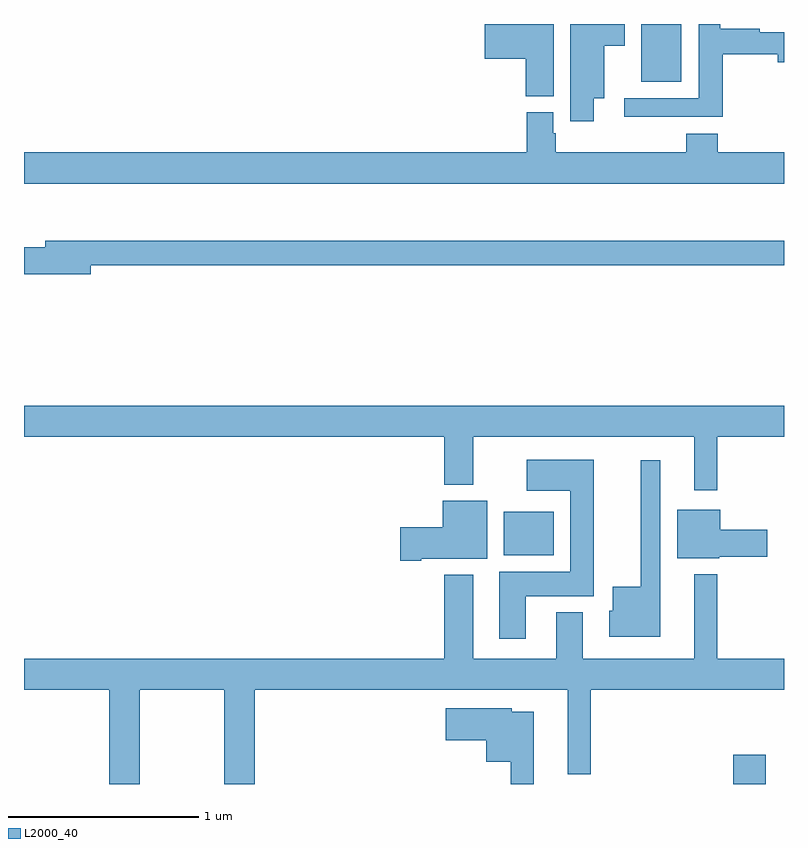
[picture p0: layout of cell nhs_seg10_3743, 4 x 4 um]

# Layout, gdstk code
import gdstk
lib = gdstk.Library(unit=1e-6, precision=1e-09)
def R(c, l, rs):  # rectangles x0, y0, x1, y1
    for r in rs: c.add(gdstk.rectangle(r[:2], r[2:], *l))
def P(c, l, *ps):  # polygons
    for p in ps: c.add(gdstk.Polygon(p, *l))
L2000_40 = (2000, 40)

nhs_seg10_3743 = lib.new_cell('nhs_seg10_3743')
R(nhs_seg10_3743, L2000_40, [(318.734,1286.5,318.904,1286.653), (317.525,1287.704,317.788,1287.934), (318.248,1290.197,318.46,1290.5)])
P(nhs_seg10_3743, L2000_40, [(318.677,1290.34),(318.968,1290.34),(318.968,1290.298),(319,1290.298),(319,1290.456),(318.872,1290.456),(318.872,1290.476),(318.664,1290.476),(318.664,1290.5),(318.551,1290.5),(318.551,1290.108),(318.159,1290.108),(318.159,1290.011),(318.677,1290.011)],
  [(317.998,1290.11),(318.055,1290.11),(318.055,1290.386),(318.163,1290.386),(318.163,1290.5),(317.876,1290.5),(317.876,1289.988),(317.998,1289.988)],
  [(317.788,1290.5),(317.424,1290.5),(317.424,1290.317),(317.642,1290.317),(317.642,1290.121),(317.788,1290.121)],
  [(319,1289.824),(318.65,1289.824),(318.65,1289.923),(318.485,1289.923),(318.485,1289.824),(317.798,1289.824),(317.798,1289.925),(317.785,1289.925),(317.785,1290.036),(317.645,1290.036),(317.645,1289.824),(315,1289.824),(315,1289.66),(319,1289.66)],
  [(315.352,1289.23),(319,1289.23),(319,1289.359),(315.113,1289.359),(315.113,1289.325),(315,1289.325),(315,1289.183),(315.352,1289.183)],
  [(318.649,1288.328),(319,1288.328),(319,1288.492),(315,1288.492),(315,1288.328),(317.213,1288.328),(317.213,1288.076),(317.365,1288.076),(317.365,1288.328),(318.527,1288.328),(318.527,1288.047),(318.649,1288.047)],
  [(317.641,1287.488),(317.998,1287.488),(317.998,1288.207),(317.646,1288.207),(317.646,1288.043),(317.876,1288.043),(317.876,1287.616),(317.501,1287.616),(317.501,1287.264),(317.641,1287.264)],
  [(318.349,1288.204),(318.245,1288.204),(318.245,1287.538),(318.098,1287.538),(318.098,1287.411),(318.08,1287.411),(318.08,1287.275),(318.349,1287.275)],
  [(317.092,1287.686),(317.437,1287.686),(317.437,1287.991),(317.204,1287.991),(317.204,1287.852),(316.98,1287.852),(316.98,1287.674),(317.092,1287.674)],
  [(318.66,1287.695),(318.913,1287.695),(318.913,1287.837),(318.664,1287.837),(318.664,1287.943),(318.437,1287.943),(318.437,1287.689),(318.66,1287.689)],
  [(315.609,1286.996),(316.054,1286.996),(316.054,1286.5),(316.214,1286.5),(316.214,1286.996),(317.861,1286.996),(317.861,1286.552),(317.983,1286.552),(317.983,1286.996),(319,1286.996),(319,1287.16),(318.649,1287.16),(318.649,1287.604),(318.527,1287.604),(318.527,1287.16),(317.941,1287.16),(317.941,1287.403),(317.801,1287.403),(317.801,1287.16),(317.365,1287.16),(317.365,1287.601),(317.213,1287.601),(317.213,1287.16),(315,1287.16),(315,1286.996),(315.449,1286.996),(315.449,1286.5),(315.609,1286.5)],
  [(317.683,1286.881),(317.568,1286.881),(317.568,1286.899),(317.22,1286.899),(317.22,1286.729),(317.432,1286.729),(317.432,1286.618),(317.562,1286.618),(317.562,1286.5),(317.683,1286.5)])

lib.write_gds('nhs_seg10_3743.gds')
